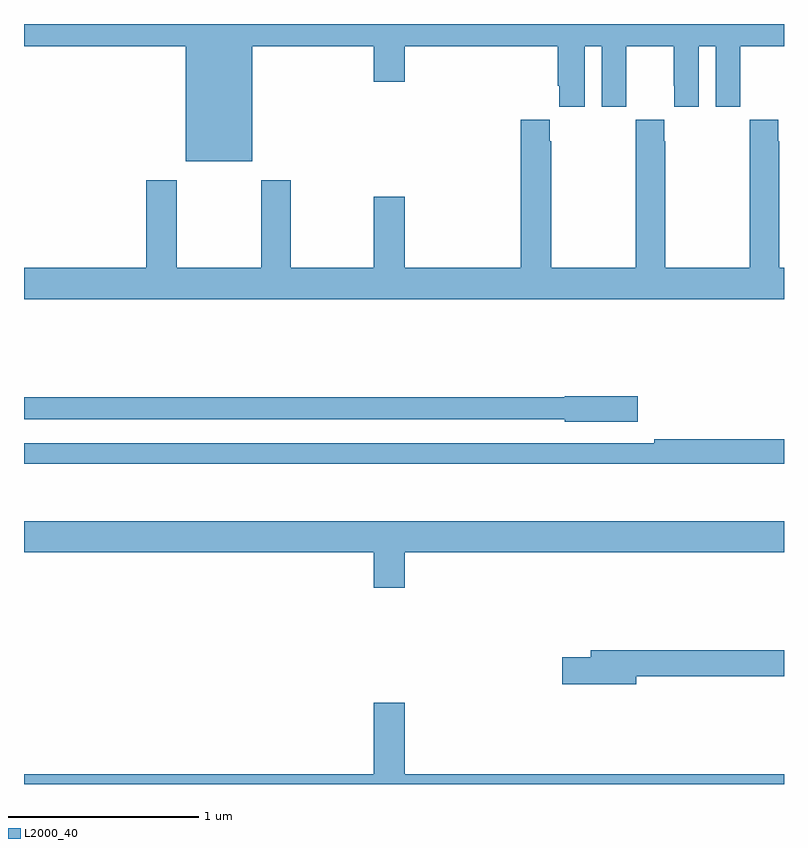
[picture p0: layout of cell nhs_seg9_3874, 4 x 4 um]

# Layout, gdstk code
import gdstk
lib = gdstk.Library(unit=1e-6, precision=1e-09)
def P(c, l, *ps):  # polygons
    for p in ps: c.add(gdstk.Polygon(p, *l))
L2000_40 = (2000, 40)

nhs_seg9_3874 = lib.new_cell('nhs_seg9_3874')
P(nhs_seg9_3874, L2000_40, [(332.2,1232.384),(332.84,1232.384),(332.84,1232.196),(333.004,1232.196),(333.004,1232.384),(333.809,1232.384),(333.809,1232.176),(333.818,1232.176),(333.818,1232.064),(333.952,1232.064),(333.952,1232.384),(334.04,1232.384),(334.04,1232.064),(334.17,1232.064),(334.17,1232.176),(334.171,1232.176),(334.171,1232.384),(334.421,1232.384),(334.421,1232.176),(334.422,1232.176),(334.422,1232.064),(334.552,1232.064),(334.552,1232.384),(334.64,1232.384),(334.64,1232.064),(334.77,1232.064),(334.77,1232.176),(334.771,1232.176),(334.771,1232.384),(335,1232.384),(335,1232.5),(331,1232.5),(331,1232.384),(331.85,1232.384),(331.85,1231.778),(332.2,1231.778)],
  [(334.821,1231.996),(334.821,1231.883),(334.819,1231.883),(334.819,1231.216),(334.374,1231.216),(334.374,1231.883),(334.371,1231.883),(334.371,1231.996),(334.221,1231.996),(334.221,1231.883),(334.219,1231.883),(334.219,1231.216),(333.774,1231.216),(333.774,1231.883),(333.767,1231.883),(333.767,1231.996),(333.614,1231.996),(333.614,1231.216),(333.004,1231.216),(333.004,1231.591),(332.84,1231.591),(332.84,1231.216),(332.403,1231.216),(332.403,1231.678),(332.248,1231.678),(332.248,1231.216),(331.803,1231.216),(331.803,1231.678),(331.643,1231.678),(331.643,1231.216),(331,1231.216),(331,1231.052),(335,1231.052),(335,1231.216),(334.974,1231.216),(334.974,1231.883),(334.971,1231.883),(334.971,1231.996)],
  [(334.231,1230.542),(333.846,1230.542),(333.846,1230.536),(331,1230.536),(331,1230.42),(333.846,1230.42),(333.846,1230.407),(334.231,1230.407)],
  [(335,1230.314),(334.318,1230.314),(334.318,1230.294),(331,1230.294),(331,1230.186),(335,1230.186)],
  [(333.004,1229.72),(335,1229.72),(335,1229.884),(331,1229.884),(331,1229.72),(332.84,1229.72),(332.84,1229.532),(333.004,1229.532)],
  [(334.222,1229.068),(335,1229.068),(335,1229.204),(333.983,1229.204),(333.983,1229.168),(333.834,1229.168),(333.834,1229.026),(334.222,1229.026)],
  [(335,1228.552),(333.004,1228.552),(333.004,1228.927),(332.84,1228.927),(332.84,1228.552),(331,1228.552),(331,1228.5),(335,1228.5)])

lib.write_gds('nhs_seg9_3874.gds')
